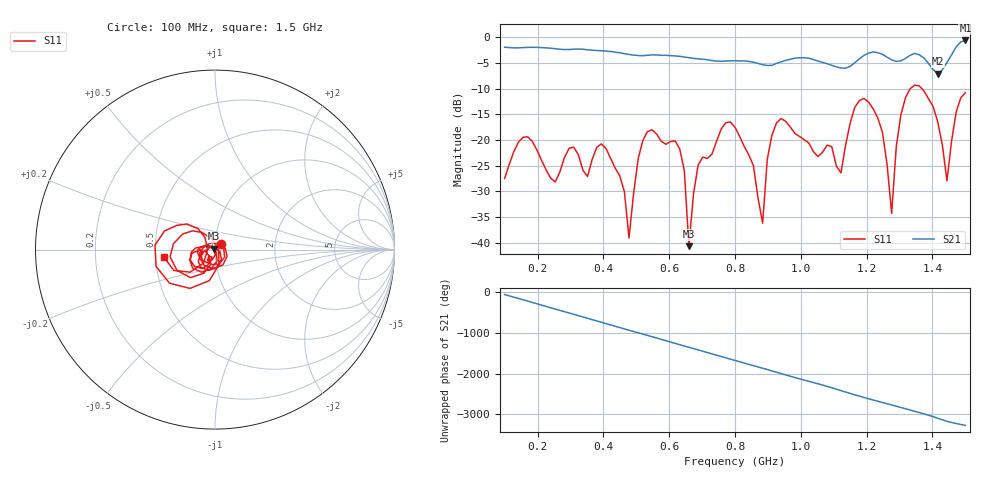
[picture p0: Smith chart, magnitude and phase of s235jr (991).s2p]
! NanoVNA-App
! Date: 2025-09-25 15:11:53
! Start: 100MHz Stop: 1,5GHz Points: 101
! S-Parameter data: F S11 S21 S12 S22
# Hz S RI R 50
!  Frequency  S11_Real  S11_Imag  S21_Real  S21_Imag  S12_Real  S12_Imag  S22_Real  S22_Imag
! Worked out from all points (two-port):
!   101 points, 100 MHz to 1.5 GHz, reference 50 ohm
!   highest |S21| = -0.65 dB at 1.5 GHz (marker M1); lowest = -7.1 dB at 1.416 GHz (marker M2)
!   |S21| within 3 dB of the highest: start of sweep to 615.7 MHz; 1.19 GHz to 1.256 GHz (65.84 MHz wide, 5.38 % of centre) (the widest 2 of 4)
!   lowest |S11| = -40.6 dB at 660 MHz (marker M3), VSWR 1.02, Z = 49.3 + j0.541 ohm
!   |S11| at or under -10 dB: start of sweep to 1.333 GHz; 1.367 GHz to end of sweep
!   S12 and S22 are empty: the file has one direction only
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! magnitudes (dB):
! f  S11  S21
! 100 MHz  -27.5  -2.0
! 156 MHz  -19.5  -2.0
! 338 MHz  -25.9  -2.4
! 408 MHz  -21.6  -2.7
! 478 MHz  -39.0  -3.4
! 520 MHz  -20.1  -3.6
! 576 MHz  -20.2  -3.5
! 632 MHz  -21.7  -3.7
! 660 MHz  -40.6  -4.0
! 688 MHz  -24.9  -4.2
! 800 MHz  -17.5  -4.6
! 884 MHz  -36.1  -5.4
! 926 MHz  -16.7  -5.1
! 1.038 GHz  -22.2  -4.4
! 1.122 GHz  -26.4  -6.0
! 1.206 GHz  -12.6  -3.1
! 1.248 GHz  -18.5  -3.3
! 1.276 GHz  -34.2  -4.4
! 1.318 GHz  -11.8  -4.1
! 1.416 GHz  -16.5  -7.1
! 1.444 GHz  -28.0  -5.0
! 1.5 GHz  -10.8  -0.7
